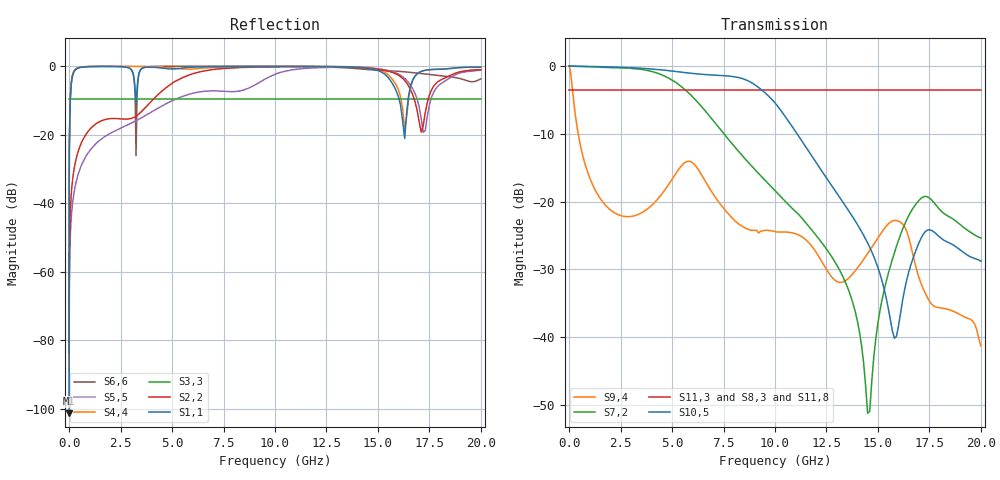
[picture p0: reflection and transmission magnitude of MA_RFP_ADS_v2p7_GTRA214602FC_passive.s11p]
! AWR Design Environment (8379) Wed Sep 29 12:27:42 2021
! Document = 'GTRB214602FC_passive'
! nPorts: 11, nXvals: 405
# HZ S DB R 50
!Freq DBS11 AngS11 DBS12 AngS12 DBS13 AngS13 DBS14 AngS14
!	DBS15 AngS15 DBS16 AngS16 DBS17 AngS17 DBS18 AngS18
!	DBS19 AngS19 DBS1_10 AngS1_10 DBS1_11 AngS1_11
!	DBS21 AngS21 DBS22 AngS22 DBS23 AngS23 DBS24 AngS24
!	DBS25 AngS25 DBS26 AngS26 DBS27 AngS27 DBS28 AngS28
!	DBS29 AngS29 DBS2_10 AngS2_10 DBS2_11 AngS2_11
!	DBS31 AngS31 DBS32 AngS32 DBS33 AngS33 DBS34 AngS34
!	DBS35 AngS35 DBS36 AngS36 DBS37 AngS37 DBS38 AngS38
!	DBS39 AngS39 DBS3_10 AngS3_10 DBS3_11 AngS3_11
!	DBS41 AngS41 DBS42 AngS42 DBS43 AngS43 DBS44 AngS44
!	DBS45 AngS45 DBS46 AngS46 DBS47 AngS47 DBS48 AngS48
!	DBS49 AngS49 DBS4_10 AngS4_10 DBS4_11 AngS4_11
!	DBS51 AngS51 DBS52 AngS52 DBS53 AngS53 DBS54 AngS54
!	DBS55 AngS55 DBS56 AngS56 DBS57 AngS57 DBS58 AngS58
!	DBS59 AngS59 DBS5_10 AngS5_10 DBS5_11 AngS5_11
!	DBS61 AngS61 DBS62 AngS62 DBS63 AngS63 DBS64 AngS64
!	DBS65 AngS65 DBS66 AngS66 DBS67 AngS67 DBS68 AngS68
!	DBS69 AngS69 DBS6_10 AngS6_10 DBS6_11 AngS6_11
!	DBS71 AngS71 DBS72 AngS72 DBS73 AngS73 DBS74 AngS74
!	DBS75 AngS75 DBS76 AngS76 DBS77 AngS77 DBS78 AngS78
!	DBS79 AngS79 DBS7_10 AngS7_10 DBS7_11 AngS7_11
!	DBS81 AngS81 DBS82 AngS82 DBS83 AngS83 DBS84 AngS84
!	DBS85 AngS85 DBS86 AngS86 DBS87 AngS87 DBS88 AngS88
!	DBS89 AngS89 DBS8_10 AngS8_10 DBS8_11 AngS8_11
!	DBS91 AngS91 DBS92 AngS92 DBS93 AngS93 DBS94 AngS94
!	DBS95 AngS95 DBS96 AngS96 DBS97 AngS97 DBS98 AngS98
!	DBS99 AngS99 DBS9_10 AngS9_10 DBS9_11 AngS9_11
!	DBS10_1 AngS10_1 DBS10_2 AngS10_2 DBS10_3 AngS10_3 DBS10_4 AngS10_4
!	DBS10_5 AngS10_5 DBS10_6 AngS10_6 DBS10_7 AngS10_7 DBS10_8 AngS10_8
!	DBS10_9 AngS10_9 DBS10_10 AngS10_10 DBS10_11 AngS10_11
!	DBS11_1 AngS11_1 DBS11_2 AngS11_2 DBS11_3 AngS11_3 DBS11_4 AngS11_4
!	DBS11_5 AngS11_5 DBS11_6 AngS11_6 DBS11_7 AngS11_7 DBS11_8 AngS11_8
!	DBS11_9 AngS11_9 DBS11_10 AngS11_10 DBS11_11 AngS11_11
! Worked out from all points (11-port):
!   404 points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, 1 kHz to 20 GHz, reference 50 ohm
!   strongest paths, dB at 1 kHz, 2.8 GHz, 5.69 GHz, 10 GHz, 20 GHz:
!     S10,5: 0.0, -0.2, -1.0, -5.4, -28.8
!     S11,3: -3.5, -3.5, -3.5, -3.5, -3.5
!     S8,3: -3.5, -3.5, -3.5, -3.5, -3.5
!     S11,8: -3.5, -3.5, -3.5, -3.5, -3.5
!     S7,2: 0.0, -0.3, -3.6, -18.3, -25.4
!     S9,4: 0.0, -22.2, -14.1, -24.4, -41.3
!   lowest |S11| = -101.3 dB at 1 kHz (marker M1), VSWR 1.00, Z = 50 - j0.000643 ohm
!   |S11| at or under -10 dB: start of sweep to 53.62 MHz; 3.24 GHz to 3.261 GHz (20.77 MHz wide, 0.639 % of centre); 16.04 GHz to 16.46 GHz (423.2 MHz wide, 2.6 % of centre)
